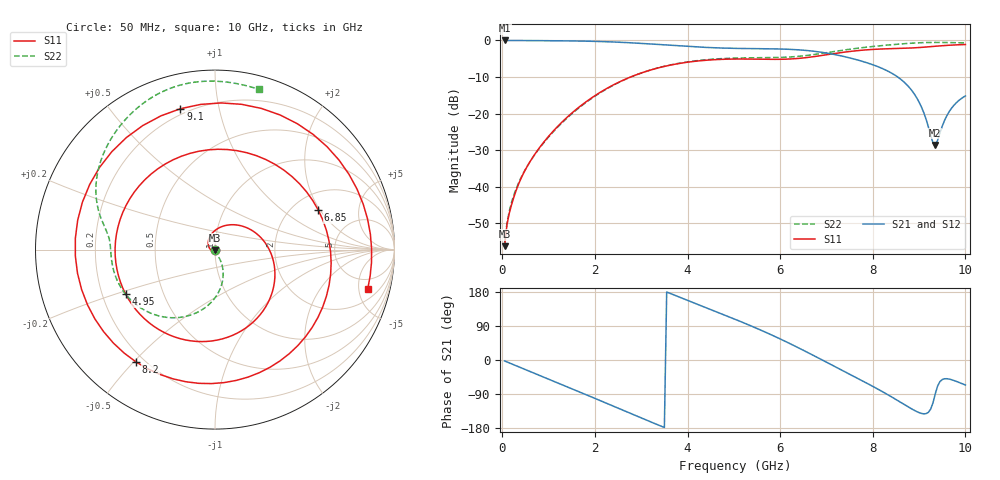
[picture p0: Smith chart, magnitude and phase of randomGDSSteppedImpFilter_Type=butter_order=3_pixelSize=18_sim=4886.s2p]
! freq	dB(S11)	phase(S11)	dB(S12)	phase(S12)
!  dB(S21)	phase(S21)	dB(S22)	phase(S22)
!S-par simulation data
#  GHz  S  DB  R 50
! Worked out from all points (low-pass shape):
!   200 points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, 50 MHz to 10 GHz, reference 50 ohm
!   highest |S21| = 0.00 dB at 50 MHz (marker M1); lowest = -28.6 dB at 9.35 GHz (marker M2)
!   |S21| within 3 dB of the highest: start of sweep to 6.76 GHz
!   lowest |S11| = -56.3 dB at 50 MHz (marker M3), VSWR 1.00, Z = 50 - j0.154 ohm
!   |S11| at or under -10 dB: start of sweep to 2.769 GHz
!   |S22| runs from -55.4 to -0.5 dB; largest |S21 - S12| = 0
!   S11 on the Smith chart (normalised r, x): 50 MHz: 1.00, -0.00; 4.95 GHz: 0.30, -0.22; 6.85 GHz: 2.71, +1.93; 8.2 GHz: 0.17, -0.51; 9.1 GHz: 0.17, +0.77; 10 GHz: 3.27, -6.26
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0.05  -56.27 -92.6  -0.00 -2.5  -0.00 -2.5  -55.44 -79.9
0.2  -44.92 -116.7  -0.02 -10.1  -0.02 -10.1  -44.27 -77.4
0.5  -35.31 -162.2  -0.04 -25.1  -0.04 -25.1  -35.24 -70.0
1.75  -17.33 72.2  -0.18 -88.4  -0.18 -88.4  -17.50 -70.1
2.65  -10.64 3.2  -0.56 -134.9  -0.56 -134.9  -10.68 -93.8
3.4  -7.40 -48.7  -1.13 -173.1  -1.13 -173.1  -7.37 -117.9
4.2  -5.64 -101.6  -1.78 147.7  -1.78 147.7  -5.53 -142.8
4.95  -5.10 -153.5  -2.15 111.3  -2.15 111.3  -4.85 -163.2
5.05  -5.08 -161.0  -2.18 106.3  -2.18 106.3  -4.82 -165.6
5.55  -5.13 158.1  -2.26 80.6  -2.26 80.6  -4.74 -176.1
6.05  -5.15 109.8  -2.36 52.8  -2.36 52.8  -4.63 175.9
6.7  -4.48 37.9  -2.91 13.3  -2.91 13.3  -3.91 167.2
6.85  -4.21 21.0  -3.15 3.8  -3.15 3.8  -3.64 164.8
7.45  -3.10 -43.9  -4.61 -34.3  -4.61 -34.3  -2.50 152.2
7.85  -2.58 -86.1  -6.01 -59.8  -6.01 -59.8  -1.86 141.8
8.2  -2.33 -125.2  -7.64 -82.9  -7.64 -82.9  -1.40 132.0
8.35  -2.26 -143.6  -8.55 -93.4  -8.55 -93.4  -1.23 127.7
8.75  -2.11 160.3  -12.31 -122.6  -12.31 -122.6  -0.82 115.5
9.1  -1.85 103.8  -19.72 -142.0  -19.72 -142.0  -0.59 103.9
9.35  -1.59 64.2  -28.62 -89.2  -28.62 -89.2  -0.54 95.5
9.65  -1.31 23.1  -19.47 -50.3  -19.47 -50.3  -0.58 85.7
10  -1.12 -14.4  -15.17 -66.0  -15.17 -66.0  -0.67 74.7
